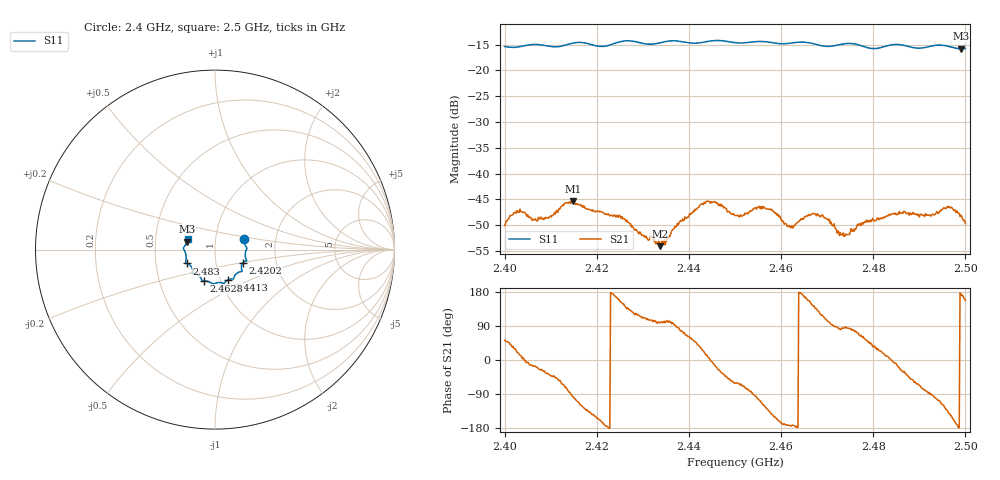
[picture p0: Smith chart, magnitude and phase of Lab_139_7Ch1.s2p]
# Hz S RI R 50
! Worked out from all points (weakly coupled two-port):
!   601 points, 2.4 GHz to 2.5 GHz, reference 50 ohm
!   highest |S21| = -45.35 dB at 2.4148 GHz (marker M1); lowest = -54.1 dB at 2.4337 GHz (marker M2)
!   lowest |S11| = -15.8 dB at 2.499 GHz (marker M3), VSWR 1.39, Z = 36.4 + j3.36 ohm
!   |S11| at or under -10 dB: start of sweep to end of sweep
!   S12 and S22 are empty: the file has one direction only
!   S11 on the Smith chart (normalised r, x): 2.4 GHz: 1.37, +0.16; 2.4202 GHz: 1.35, -0.20; 2.4413 GHz: 1.09, -0.38; 2.4628 GHz: 0.83, -0.30; 2.483 GHz: 0.72, -0.11; 2.5 GHz: 0.73, +0.09
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2.4e9  0.1607 0.057  0.00191 0.00247  0 0  0 0
2.402833e9  0.1666 0.0268  0.00398 0.00143  0 0  0 0
2.406667e9  0.1784 0.0084  0.0035 -0.00101  0 0  0 0
2.414833e9  0.1751 -0.0567  -0.000594 -0.00537  0 0  0 0
2.416667e9  0.1761 -0.0616  -0.00243 -0.0042  0 0  0 0
2.420167e9  0.156 -0.0727  -0.00387 -0.00193  0 0  0 0
2.425333e9  0.151 -0.1167  -0.00322 0.00174  0 0  0 0
2.433333e9  0.1079 -0.1485  -0.000398 0.00208  0 0  0 0
2.433667e9  0.1071 -0.1512  -0.000264 0.00196  0 0  0 0
2.441333e9  0.0742 -0.1681  0.00303 0.00335  0 0  0 0
2.445333e9  0.0515 -0.1874  0.0052 -0.000946  0 0  0 0
2.45e9  0.0291 -0.1837  0.00185 -0.00347  0 0  0 0
2.456167e9  -0.0126 -0.1902  -0.00218 -0.00408  0 0  0 0
2.462833e9  -0.063 -0.1749  -0.00313 -0.000354  0 0  0 0
2.466667e9  -0.0744 -0.1677  -0.00339 0.00225  0 0  0 0
2.474167e9  -0.1233 -0.1341  0.000241 0.00254  0 0  0 0
2.483e9  -0.155 -0.0768  0.00383 0.000715  0 0  0 0
2.483333e9  -0.1574 -0.0757  0.00392 0.000463  0 0  0 0
2.492833e9  -0.1729 -0.000136  -0.000235 -0.00403  0 0  0 0
2.4965e9  -0.1693 0.0191  -0.00376 -0.00298  0 0  0 0
2.499e9  -0.1556 0.0449  -0.00393 0.000377  0 0  0 0
2.5e9  -0.1528 0.0585  -0.00302 0.00125  0 0  0 0
